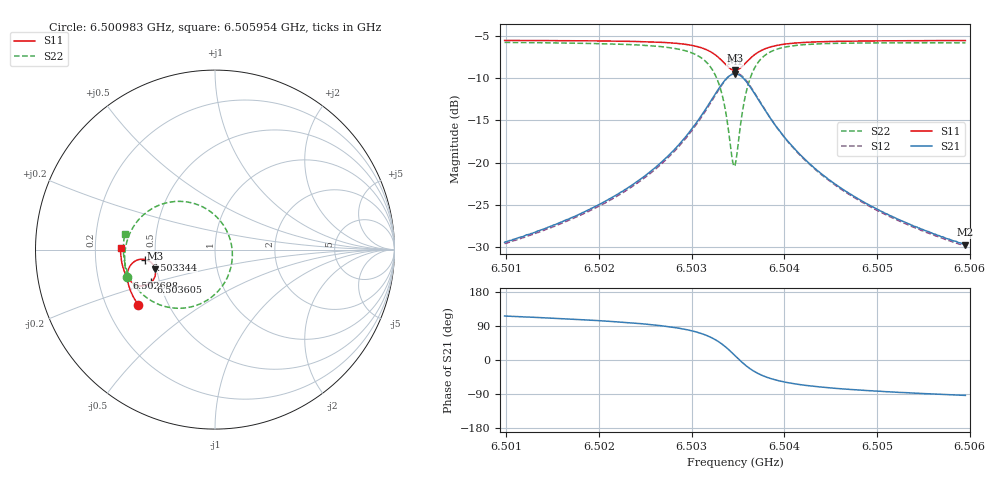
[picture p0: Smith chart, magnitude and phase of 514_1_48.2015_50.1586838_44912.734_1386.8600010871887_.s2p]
#  HZ  S  RI  R  50.00
! Rohde & Schwarz Vector Network Analyzer
! Rohde-Schwarz,ZNB20-2Port,1311601062101988,3.16
! Created: UTC 3/20/2024, 11:59:05 AM
! freq[Hz]  re:S11  im:S11  re:S21  im:S21  re:S12  im:S12  re:S22  im:S22
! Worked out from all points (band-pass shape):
!   401 points, 6.500983 GHz to 6.505954 GHz, reference 50 ohm
!   highest |S21| = -9.50 dB at 6.503468 GHz (marker M1); lowest = -29.7 dB at 6.505954 GHz (marker M2)
!   |S21| within 3 dB of the highest: 6.50322 GHz to 6.503717 GHz (497.1 kHz wide, 0.00764 % of centre)
!   lowest |S11| = -9.1 dB at 6.503468 GHz (marker M3), VSWR 2.08, Z = 24.5 - j5.88 ohm
!   |S11| at or under -10 dB: nowhere
!   |S22| runs from -20.4 to -5.8 dB; largest |S21 - S12| = 0.011
!   S11 on the Smith chart (normalised r, x): 6.500983 GHz: 0.34, -0.29; 6.502698 GHz: 0.33, -0.14; 6.503344 GHz: 0.44, -0.06; 6.503605 GHz: 0.45, -0.19; 6.505954 GHz: 0.31, +0.01
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6.5009829e9  -0.4276 -0.3083  -0.0149 0.0304  -0.0132 0.0306  -0.4902 -0.1525
6.5018155e9  -0.4634 -0.2465  -0.0141 0.0484  -0.0119 0.048  -0.5032 -0.0636
6.5022629e9  -0.4789 -0.2067  -0.0113 0.0673  -0.00841 0.0662  -0.5 0.000112
6.5026481e9  -0.4881 -0.1638  -0.00206 0.0977  0.00157 0.0955  -0.4798 0.0777
6.5026978e9  -0.4885 -0.1572  0.000577 0.1035  0.00398 0.101  -0.4744 0.0904
6.5029588e9  -0.4843 -0.1158  0.027 0.145  0.0304 0.1407  -0.4193 0.1734
6.5031452e9  -0.4623 -0.0776  0.0819 0.1874  0.0841 0.1815  -0.3145 0.2463
6.5032571e9  -0.4292 -0.0568  0.1521 0.2051  0.1525 0.1993  -0.1883 0.2686
6.503344e9  -0.3881 -0.0553  0.2327 0.1886  0.2329 0.1842  -0.049 0.2274
6.503431e9  -0.3455 -0.0837  0.3105 0.1152  0.313 0.1115  0.075 0.0832
6.5034559e9  -0.3375 -0.0977  0.324 0.0836  0.3272 0.0792  0.0922 0.0239
6.5034683e9  -0.3345 -0.1054  0.3283 0.067  0.3319 0.0621  0.0962 -0.007
6.5034932e9  -0.3315 -0.1214  0.3319 0.0329  0.3359 0.0266  0.094 -0.0696
6.5035305e9  -0.3336 -0.1453  0.3249 -0.0169  0.3285 -0.0252  0.0678 -0.1576
6.503605e9  -0.3553 -0.182  0.2791 -0.0927  0.2794 -0.1039  -0.0404 -0.28
6.5037044e9  -0.3959 -0.2014  0.202 -0.1362  0.1974 -0.146  -0.1977 -0.3271
6.503866e9  -0.4448 -0.1939  0.1146 -0.136  0.1078 -0.1413  -0.3564 -0.2841
6.50404e9  -0.4738 -0.1728  0.0671 -0.1155  0.061 -0.1179  -0.4338 -0.2177
6.5043009e9  -0.4962 -0.1413  0.0344 -0.0893  0.0297 -0.0897  -0.4814 -0.1402
6.5046489e9  -0.5113 -0.1044  0.0158 -0.0668  0.0126 -0.0665  -0.5032 -0.0693
6.5051336e9  -0.5214 -0.0592  0.00515 -0.0487  0.00294 -0.0481  -0.5103 0.000645
6.5059537e9  -0.5264 0.0104  -0.00196 -0.0328  -0.00335 -0.032  -0.5029 0.088
